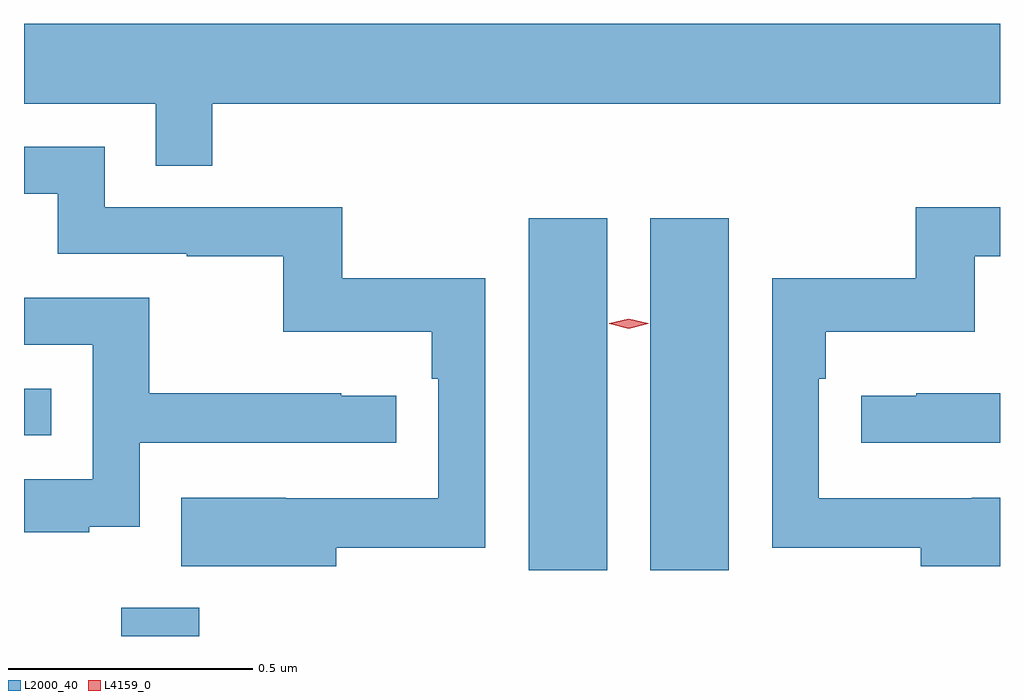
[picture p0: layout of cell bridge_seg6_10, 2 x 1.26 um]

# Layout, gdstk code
import gdstk
lib = gdstk.Library(unit=1e-6, precision=1e-09)
def R(c, l, rs):  # rectangles x0, y0, x1, y1
    for r in rs: c.add(gdstk.rectangle(r[:2], r[2:], *l))
def P(c, l, *ps):  # polygons
    for p in ps: c.add(gdstk.Polygon(p, *l))
L2000_40 = (2000, 40)
L4159_0 = (4159, 0)

bridge_seg6_10 = lib.new_cell('bridge_seg6_10')
R(bridge_seg6_10, L2000_40, [(980.566,939.584,980.726,939.643), (981.401,939.72,981.562,940.441), (981.65,939.72,981.811,940.441), (980.367,939.996,980.423,940.092)])
P(bridge_seg6_10, L2000_40, [(980.753,940.676),(982.367,940.676),(982.367,940.84),(980.367,940.84),(980.367,940.676),(980.637,940.676),(980.637,940.549),(980.753,940.549)],
  [(981.007,939.766),(981.312,939.766),(981.312,940.318),(981.019,940.318),(981.019,940.464),(980.532,940.464),(980.532,940.587),(980.367,940.587),(980.367,940.491),(980.436,940.491),(980.436,940.368),(980.701,940.368),(980.701,940.363),(980.898,940.363),(980.898,940.208),(981.203,940.208),(981.203,940.112),(981.216,940.112),(981.216,939.867),(980.903,939.867),(980.903,939.868),(980.689,939.868),(980.689,939.728),(981.007,939.728)],
  [(982.367,939.868),(982.309,939.868),(982.309,939.867),(981.996,939.867),(981.996,940.112),(982.01,940.112),(982.01,940.208),(982.315,940.208),(982.315,940.363),(982.367,940.363),(982.367,940.464),(982.194,940.464),(982.194,940.318),(981.9,940.318),(981.9,939.766),(982.205,939.766),(982.205,939.728),(982.367,939.728)],
  [(980.501,939.809),(980.604,939.809),(980.604,939.981),(981.13,939.981),(981.13,940.077),(981.017,940.077),(981.017,940.082),(980.624,940.082),(980.624,940.278),(980.367,940.278),(980.367,940.182),(980.508,940.182),(980.508,939.906),(980.367,939.906),(980.367,939.798),(980.501,939.798)],
  [(982.367,940.082),(982.195,940.082),(982.195,940.077),(982.083,940.077),(982.083,939.981),(982.367,939.981)])
P(bridge_seg6_10, L4159_0, [(981.606,940.215),(981.566,940.225),(981.566,940.225),(981.566,940.226),(981.606,940.235),(981.646,940.226),(981.646,940.225),(981.646,940.225)])

lib.write_gds('bridge_seg6_10.gds')
